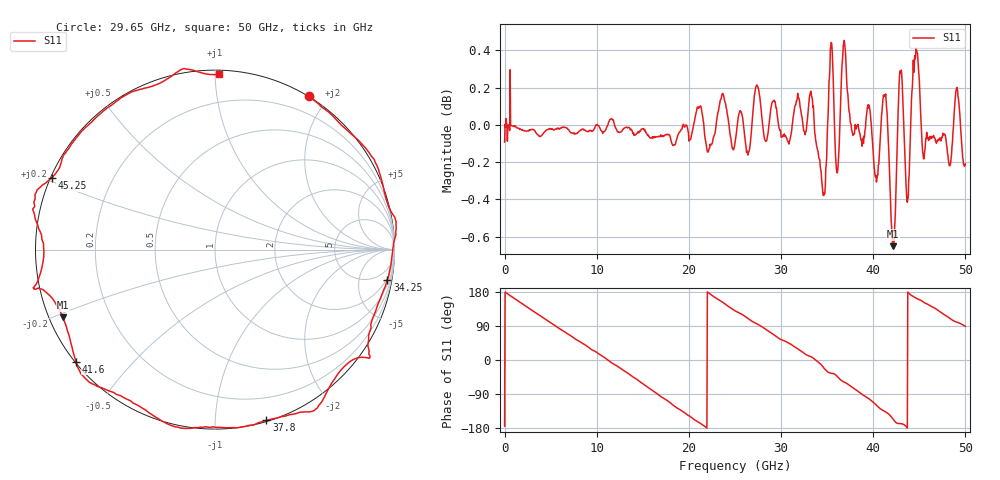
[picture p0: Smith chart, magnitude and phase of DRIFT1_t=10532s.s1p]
!Created with skrf (http://scikit-rf.org).
# Hz S RI R 50.0
!freq ReS11 ImS11
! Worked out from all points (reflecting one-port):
!   1001 points, 300 kHz to 50 GHz, reference 50 ohm
!   lowest |S11| = -0.7 dB at 42.15 GHz (marker M1), VSWR 26.67, Z = 1.96 - j10.6 ohm
!   phase of S11 starts at -175 deg and turns -817 deg over the sweep
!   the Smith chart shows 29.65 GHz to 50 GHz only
!   S11 on the Smith chart (normalised r, x): 29.65 GHz: -0.00, +1.78; 34.25 GHz: 2, -11; 37.8 GHz: 0.01, -1.35; 41.6 GHz: 0.00, -0.35; 45.25 GHz: 0.00, +0.21; 50 GHz: 0.02, +1.02
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300000  -0.985 -0.0925
1.500291e9  -0.9057 0.4188
3.30028e9  -0.5805 0.8096
6.250262e9  0.2029 0.9777
9.500243e9  0.8924 0.4425
1.250022e10  0.9315 -0.3502
1.580021e10  0.2366 -0.9633
1.74002e10  -0.2247 -0.968
1.875019e10  -0.599 -0.7919
2.150017e10  -0.9938 -0.1485
2.350016e10  -0.922 0.4277
2.500015e10  -0.6341 0.7587
2.740014e10  -0.0949 1.02
2.965012e10  0.5231 0.855
3.125011e10  0.7865 0.6199
3.31001e10  1.003 0.1771
3.425009e10  0.96 -0.168
3.520009e10  0.8587 -0.5633
3.750008e10  0.3719 -0.9302
3.780007e10  0.2864 -0.9513
3.955006e10  -0.2205 -0.9879
4.160005e10  -0.7753 -0.6237
4.215005e10  -0.8479 -0.3765
4.290004e10  -1.011 -0.2177
4.375004e10  -0.955 0.0128
4.525003e10  -0.9104 0.3998
4.770001e10  -0.4914 0.8645
5e10  0.0237 0.9759
